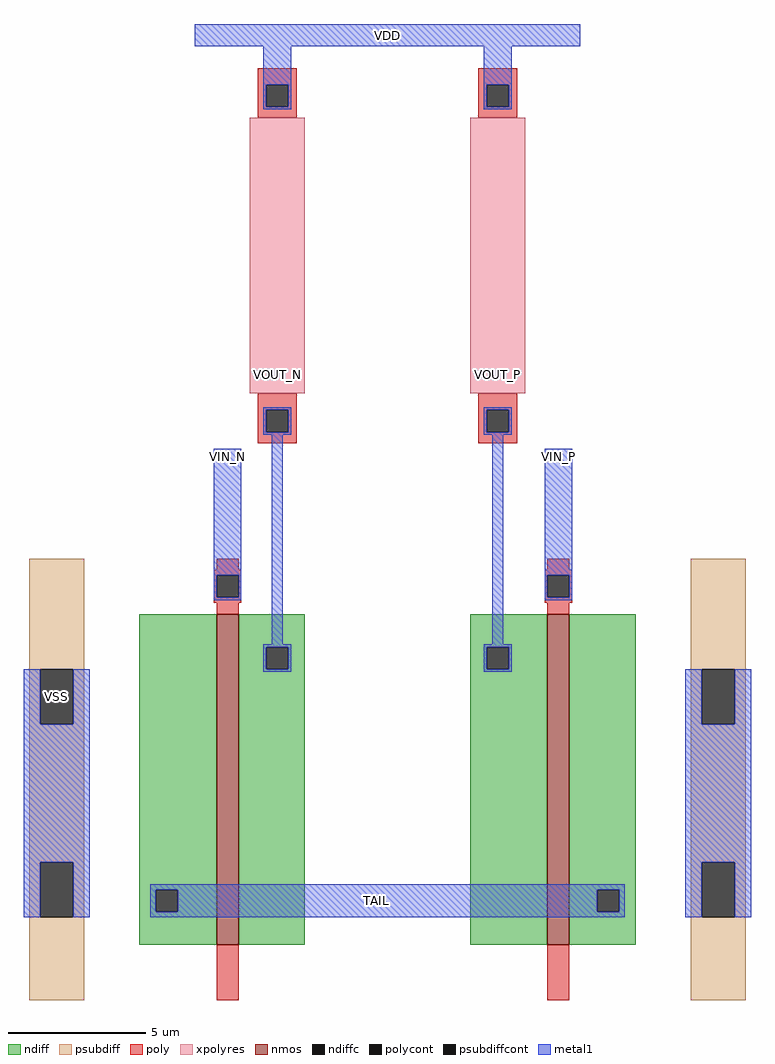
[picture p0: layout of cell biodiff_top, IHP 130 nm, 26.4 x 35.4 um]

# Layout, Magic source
magic
tech ihp-sg13g2
<< nmos >>
rect 880 1000 960 2200
rect 2080 1000 2160 2200
<< ndiff >>
rect 600 1200 880 2200
rect 600 1120 660 1200
rect 740 1120 880 1200
rect 600 1000 880 1120
rect 960 2080 1200 2200
rect 960 2000 1060 2080
rect 1140 2000 1200 2080
rect 960 1000 1200 2000
rect 1800 2080 2080 2200
rect 1800 2000 1860 2080
rect 1940 2000 2080 2080
rect 1800 1000 2080 2000
rect 2160 1200 2400 2200
rect 2160 1120 2260 1200
rect 2340 1120 2400 1200
rect 2160 1000 2400 1120
<< ndiffc >>
rect 660 1120 740 1200
rect 1060 2000 1140 2080
rect 1860 2000 1940 2080
rect 2260 1120 2340 1200
<< psubdiff >>
rect 200 2000 400 2400
rect 200 1800 240 2000
rect 360 1800 400 2000
rect 200 1300 400 1800
rect 200 1100 240 1300
rect 360 1100 400 1300
rect 200 800 400 1100
rect 2600 2000 2800 2400
rect 2600 1800 2640 2000
rect 2760 1800 2800 2000
rect 2600 1300 2800 1800
rect 2600 1100 2640 1300
rect 2760 1100 2800 1300
rect 2600 800 2800 1100
<< psubdiffcont >>
rect 240 1800 360 2000
rect 240 1100 360 1300
rect 2640 1800 2760 2000
rect 2640 1100 2760 1300
<< poly >>
rect 1030 4120 1170 4180
rect 1030 4040 1060 4120
rect 1140 4040 1170 4120
rect 1030 4000 1170 4040
rect 1830 4120 1970 4180
rect 1830 4040 1860 4120
rect 1940 4040 1970 4120
rect 1830 4000 1970 4040
rect 1030 2940 1170 3000
rect 1030 2860 1060 2940
rect 1140 2860 1170 2940
rect 1030 2820 1170 2860
rect 1830 2940 1970 3000
rect 1830 2860 1860 2940
rect 1940 2860 1970 2940
rect 1830 2820 1970 2860
rect 880 2360 960 2400
rect 2080 2360 2160 2400
rect 870 2340 970 2360
rect 870 2260 880 2340
rect 960 2260 970 2340
rect 870 2240 970 2260
rect 2070 2340 2170 2360
rect 2070 2260 2080 2340
rect 2160 2260 2170 2340
rect 2070 2240 2170 2260
rect 880 2200 960 2240
rect 2080 2200 2160 2240
rect 880 800 960 1000
rect 2080 800 2160 1000
<< polycont >>
rect 1060 4040 1140 4120
rect 1860 4040 1940 4120
rect 1060 2860 1140 2940
rect 1860 2860 1940 2940
rect 880 2260 960 2340
rect 2080 2260 2160 2340
<< xpolyres >>
rect 1000 3000 1200 4000
rect 1800 3000 2000 4000
<< metal1 >>
rect 800 4260 2200 4340
rect 1050 4120 1150 4260
rect 1050 4040 1060 4120
rect 1140 4040 1150 4120
rect 1050 4030 1150 4040
rect 1850 4120 1950 4260
rect 1850 4040 1860 4120
rect 1940 4040 1950 4120
rect 1850 4030 1950 4040
rect 1050 2940 1150 2950
rect 1050 2860 1060 2940
rect 1140 2860 1150 2940
rect 1050 2850 1150 2860
rect 1850 2940 1950 2950
rect 1850 2860 1860 2940
rect 1940 2860 1950 2940
rect 1850 2850 1950 2860
rect 870 2340 970 2800
rect 870 2260 880 2340
rect 960 2260 970 2340
rect 870 2250 970 2260
rect 1080 2090 1120 2850
rect 1880 2090 1920 2850
rect 2070 2340 2170 2800
rect 2070 2260 2080 2340
rect 2160 2260 2170 2340
rect 2070 2250 2170 2260
rect 1050 2080 1150 2090
rect 1050 2000 1060 2080
rect 1140 2000 1150 2080
rect 180 1800 240 2000
rect 360 1800 420 2000
rect 1050 1990 1150 2000
rect 1850 2080 1950 2090
rect 1850 2000 1860 2080
rect 1940 2000 1950 2080
rect 1850 1990 1950 2000
rect 180 1300 420 1800
rect 180 1100 240 1300
rect 360 1100 420 1300
rect 2580 1800 2640 2000
rect 2760 1800 2820 2000
rect 2580 1300 2820 1800
rect 640 1200 2360 1220
rect 640 1120 660 1200
rect 740 1120 2260 1200
rect 2340 1120 2360 1200
rect 640 1100 2360 1120
rect 2580 1100 2640 1300
rect 2760 1100 2820 1300
<< labels >>
rlabel metal1 890 2740 950 2800 1 VIN_N
port 1 n
rlabel metal1 2090 2740 2150 2800 1 VIN_P
port 2 n
rlabel metal1 1040 3040 1160 3100 1 VOUT_N
port 3 n
rlabel metal1 1840 3040 1960 3100 1 VOUT_P
port 4 n
rlabel metal1 1460 4260 1540 4340 1 VDD
port 5 n
rlabel metal1 1400 1130 1520 1190 1 TAIL
port 6 n
rlabel metal1 220 1820 380 1980 5 VSS
port 7 s
<< end >>
